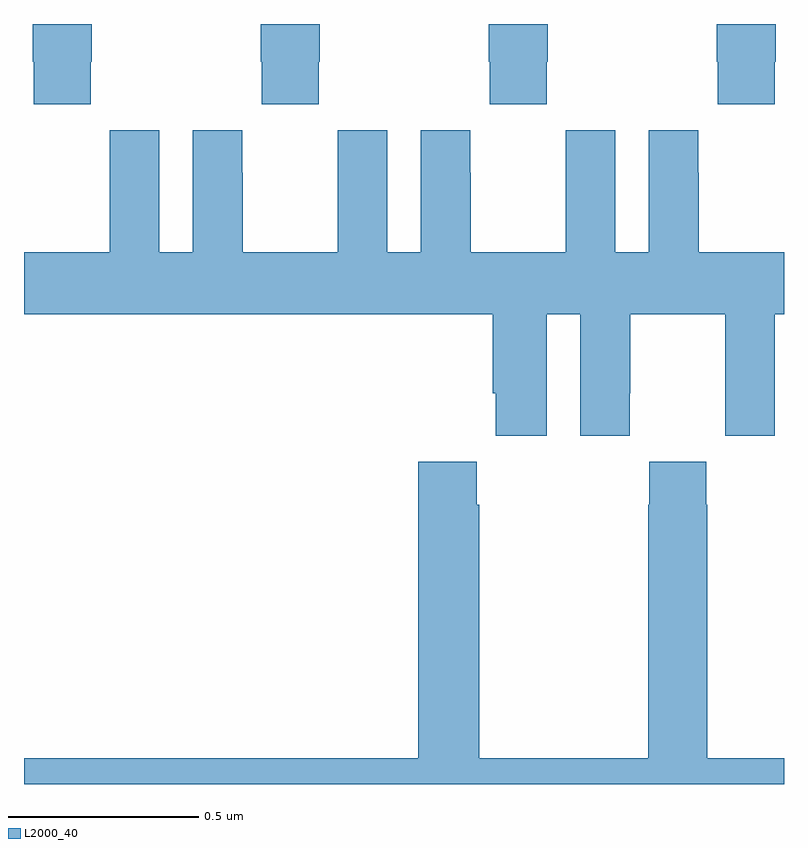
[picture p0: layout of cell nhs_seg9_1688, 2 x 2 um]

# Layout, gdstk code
import gdstk
lib = gdstk.Library(unit=1e-6, precision=1e-09)
def P(c, l, *ps):  # polygons
    for p in ps: c.add(gdstk.Polygon(p, *l))
L2000_40 = (2000, 40)

nhs_seg9_1688 = lib.new_cell('nhs_seg9_1688')
P(nhs_seg9_1688, L2000_40, [(131.175,1214.401),(131.178,1214.401),(131.178,1214.5),(131.023,1214.5),(131.023,1214.401),(131.025,1214.401),(131.025,1214.289),(131.175,1214.289)],
  [(131.775,1214.401),(131.778,1214.401),(131.778,1214.5),(131.623,1214.5),(131.623,1214.401),(131.625,1214.401),(131.625,1214.289),(131.775,1214.289)],
  [(132.375,1214.401),(132.378,1214.401),(132.378,1214.5),(132.223,1214.5),(132.223,1214.401),(132.225,1214.401),(132.225,1214.289),(132.375,1214.289)],
  [(132.975,1214.401),(132.978,1214.401),(132.978,1214.5),(132.823,1214.5),(132.823,1214.401),(132.825,1214.401),(132.825,1214.289),(132.975,1214.289)],
  [(132.233,1213.528),(132.242,1213.528),(132.242,1213.416),(132.376,1213.416),(132.376,1213.736),(132.464,1213.736),(132.464,1213.416),(132.594,1213.416),(132.594,1213.528),(132.595,1213.528),(132.595,1213.736),(132.845,1213.736),(132.845,1213.528),(132.846,1213.528),(132.846,1213.416),(132.976,1213.416),(132.976,1213.736),(133,1213.736),(133,1213.9),(132.775,1213.9),(132.775,1214.108),(132.774,1214.108),(132.774,1214.221),(132.644,1214.221),(132.644,1213.9),(132.556,1213.9),(132.556,1214.221),(132.426,1214.221),(132.426,1214.108),(132.425,1214.108),(132.425,1213.9),(132.175,1213.9),(132.175,1214.108),(132.174,1214.108),(132.174,1214.221),(132.044,1214.221),(132.044,1213.9),(131.956,1213.9),(131.956,1214.221),(131.826,1214.221),(131.826,1214.108),(131.825,1214.108),(131.825,1213.9),(131.575,1213.9),(131.575,1214.108),(131.574,1214.108),(131.574,1214.221),(131.444,1214.221),(131.444,1213.9),(131.356,1213.9),(131.356,1214.221),(131.226,1214.221),(131.226,1214.108),(131.225,1214.108),(131.225,1213.9),(131,1213.9),(131,1213.736),(132.233,1213.736)],
  [(133,1212.568),(132.798,1212.568),(132.798,1213.235),(132.795,1213.235),(132.795,1213.348),(132.645,1213.348),(132.645,1213.235),(132.643,1213.235),(132.643,1212.568),(132.198,1212.568),(132.198,1213.235),(132.191,1213.235),(132.191,1213.348),(132.038,1213.348),(132.038,1212.568),(131,1212.568),(131,1212.5),(133,1212.5)])

lib.write_gds('nhs_seg9_1688.gds')
